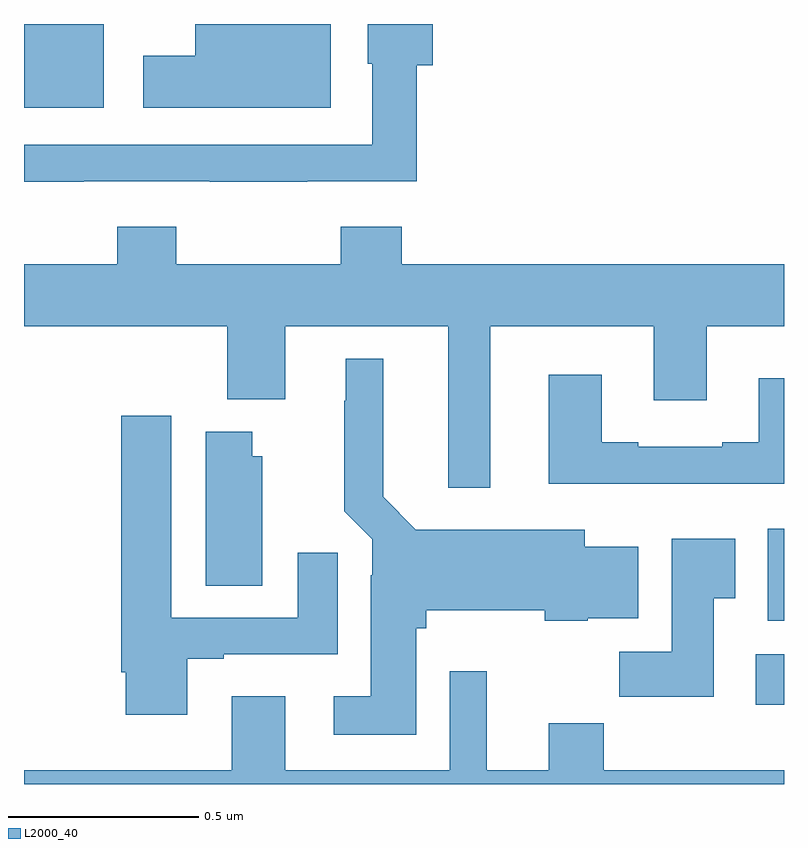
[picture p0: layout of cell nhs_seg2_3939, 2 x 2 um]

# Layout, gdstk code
import gdstk
lib = gdstk.Library(unit=1e-6, precision=1e-09)
def R(c, l, rs):  # rectangles x0, y0, x1, y1
    for r in rs: c.add(gdstk.rectangle(r[:2], r[2:], *l))
def P(c, l, *ps):  # polygons
    for p in ps: c.add(gdstk.Polygon(p, *l))
L2000_40 = (2000, 40)

nhs_seg2_3939 = lib.new_cell('nhs_seg2_3939')
R(nhs_seg2_3939, L2000_40, [(161.925,612.008,162,612.142), (161.957,612.23,162,612.472), (160,613.58,160.21,613.8)])
P(nhs_seg2_3939, L2000_40, [(160.807,613.8),(160.451,613.8),(160.451,613.716),(160.314,613.716),(160.314,613.58),(160.807,613.58)],
  [(160.157,613.386),(160.489,613.386),(160.489,613.385),(160.745,613.385),(160.745,613.386),(161.033,613.386),(161.033,613.691),(161.075,613.691),(161.075,613.8),(160.904,613.8),(160.904,613.695),(160.917,613.695),(160.917,613.482),(160,613.482),(160,613.385),(160.157,613.385)],
  [(161.227,613.004),(161.657,613.004),(161.657,612.81),(161.797,612.81),(161.797,613.004),(162,613.004),(162,613.168),(160.994,613.168),(160.994,613.267),(160.834,613.267),(160.834,613.168),(160.401,613.168),(160.401,613.267),(160.246,613.267),(160.246,613.168),(160,613.168),(160,613.004),(160.535,613.004),(160.535,612.812),(160.687,612.812),(160.687,613.004),(161.117,613.004),(161.117,612.579),(161.227,612.579)],
  [(161.032,612.21),(161.058,612.21),(161.058,612.257),(161.37,612.257),(161.37,612.23),(161.484,612.23),(161.484,612.236),(161.617,612.236),(161.617,612.424),(161.476,612.424),(161.476,612.469),(161.031,612.469),(160.945,612.556),(160.945,612.919),(160.847,612.919),(160.847,612.809),(160.843,612.809),(160.843,612.518),(160.917,612.444),(160.917,612.35),(160.913,612.35),(160.913,612.031),(160.815,612.031),(160.815,611.93),(161.032,611.93)],
  [(162,612.868),(161.933,612.868),(161.933,612.7),(161.837,612.7),(161.837,612.687),(161.617,612.687),(161.617,612.7),(161.521,612.7),(161.521,612.877),(161.381,612.877),(161.381,612.59),(162,612.59)],
  [(160.429,612.129),(160.525,612.129),(160.525,612.141),(160.825,612.141),(160.825,612.409),(160.721,612.409),(160.721,612.237),(160.387,612.237),(160.387,612.769),(160.256,612.769),(160.256,612.094),(160.268,612.094),(160.268,611.982),(160.429,611.982)],
  [(160.627,612.663),(160.6,612.663),(160.6,612.727),(160.478,612.727),(160.478,612.322),(160.627,612.322)],
  [(161.815,612.289),(161.872,612.289),(161.872,612.445),(161.705,612.445),(161.705,612.148),(161.566,612.148),(161.566,612.03),(161.815,612.03)],
  [(162,611.836),(161.525,611.836),(161.525,611.96),(161.381,611.96),(161.381,611.836),(161.218,611.836),(161.218,612.097),(161.121,612.097),(161.121,611.836),(160.687,611.836),(160.687,612.031),(160.547,612.031),(160.547,611.836),(160,611.836),(160,611.8),(162,611.8)])

lib.write_gds('nhs_seg2_3939.gds')
